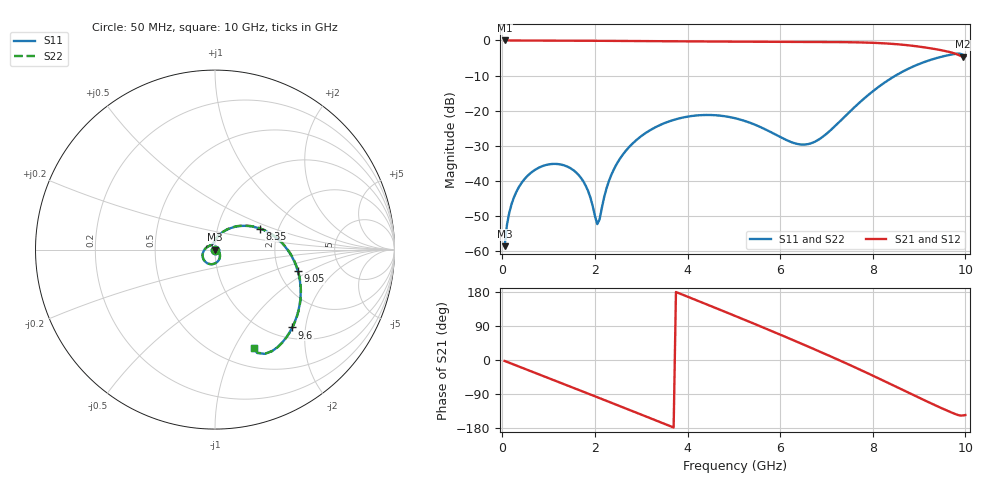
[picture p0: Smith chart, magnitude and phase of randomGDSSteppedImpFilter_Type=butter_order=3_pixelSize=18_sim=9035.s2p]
! freq	dB(S11)	phase(S11)	dB(S12)	phase(S12)
!  dB(S21)	phase(S21)	dB(S22)	phase(S22)
!S-par simulation data
#  GHz  S  DB  R 50
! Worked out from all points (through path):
!   200 points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, 50 MHz to 10 GHz, reference 50 ohm
!   highest |S21| = -0.01 dB at 50 MHz (marker M1); lowest = -4.6 dB at 9.95 GHz (marker M2)
!   group delay of S21, straight-line fit = 142 ps
!   lowest |S11| = -58.5 dB at 50 MHz (marker M3), VSWR 1.00, Z = 50 - j0.119 ohm
!   |S11| at or under -10 dB: start of sweep to 8.493 GHz
!   |S22| runs from -58.5 to -3.8 dB; largest |S21 - S12| = 0
!   S11 on the Smith chart (normalised r, x): 50 MHz: 1.00, -0.00; 8.35 GHz: 1.61, +0.41; 9.05 GHz: 2.54, -0.77; 9.6 GHz: 1.22, -1.69; 10 GHz: 0.71, -1.20
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0.05  -58.51 -89.0  -0.01 -2.5  -0.01 -2.5  -58.50 -89.0
0.15  -49.02 -96.1  -0.02 -7.2  -0.02 -7.2  -49.02 -96.2
0.25  -44.68 -101.5  -0.03 -12.0  -0.03 -12.0  -44.68 -101.5
0.6  -37.84 -119.3  -0.04 -28.7  -0.04 -28.7  -37.84 -119.3
1.25  -35.25 -153.1  -0.07 -59.8  -0.07 -59.8  -35.25 -153.0
1.75  -40.08 175.0  -0.09 -83.7  -0.09 -83.7  -40.10 175.3
1.9  -44.58 157.5  -0.10 -90.9  -0.10 -90.9  -44.63 158.1
2.05  -52.24 92.0  -0.11 -98.1  -0.11 -98.1  -52.52 92.0
2.3  -40.08 -4.9  -0.13 -110.2  -0.13 -110.2  -40.09 -5.4
2.5  -34.48 -21.5  -0.14 -119.8  -0.14 -119.8  -34.49 -21.9
2.9  -28.28 -45.0  -0.17 -139.2  -0.17 -139.2  -28.28 -45.2
3.4  -24.10 -70.7  -0.22 -163.5  -0.22 -163.5  -24.09 -70.9
4.2  -21.33 -110.3  -0.30 157.3  -0.30 157.3  -21.33 -110.4
5.05  -22.20 -152.5  -0.35 115.2  -0.35 115.2  -22.20 -152.5
5.85  -26.42 165.0  -0.38 74.7  -0.38 74.7  -26.42 165.2
6.7  -29.09 109.8  -0.42 30.4  -0.42 30.4  -29.12 111.0
7.5  -20.31 69.1  -0.51 -12.9  -0.51 -12.9  -20.33 70.0
8.35  -11.16 24.9  -0.91 -61.5  -0.91 -61.5  -11.17 25.4
9.05  -6.45 -14.4  -1.85 -102.5  -1.85 -102.5  -6.45 -14.0
9.6  -4.28 -45.2  -3.12 -133.3  -3.12 -133.3  -4.28 -44.9
9.95  -4.13 -67.8  -4.64 -146.3  -4.64 -146.3  -4.12 -67.5
10  -4.59 -68.6  -4.39 -145.3  -4.39 -145.3  -4.58 -68.3
